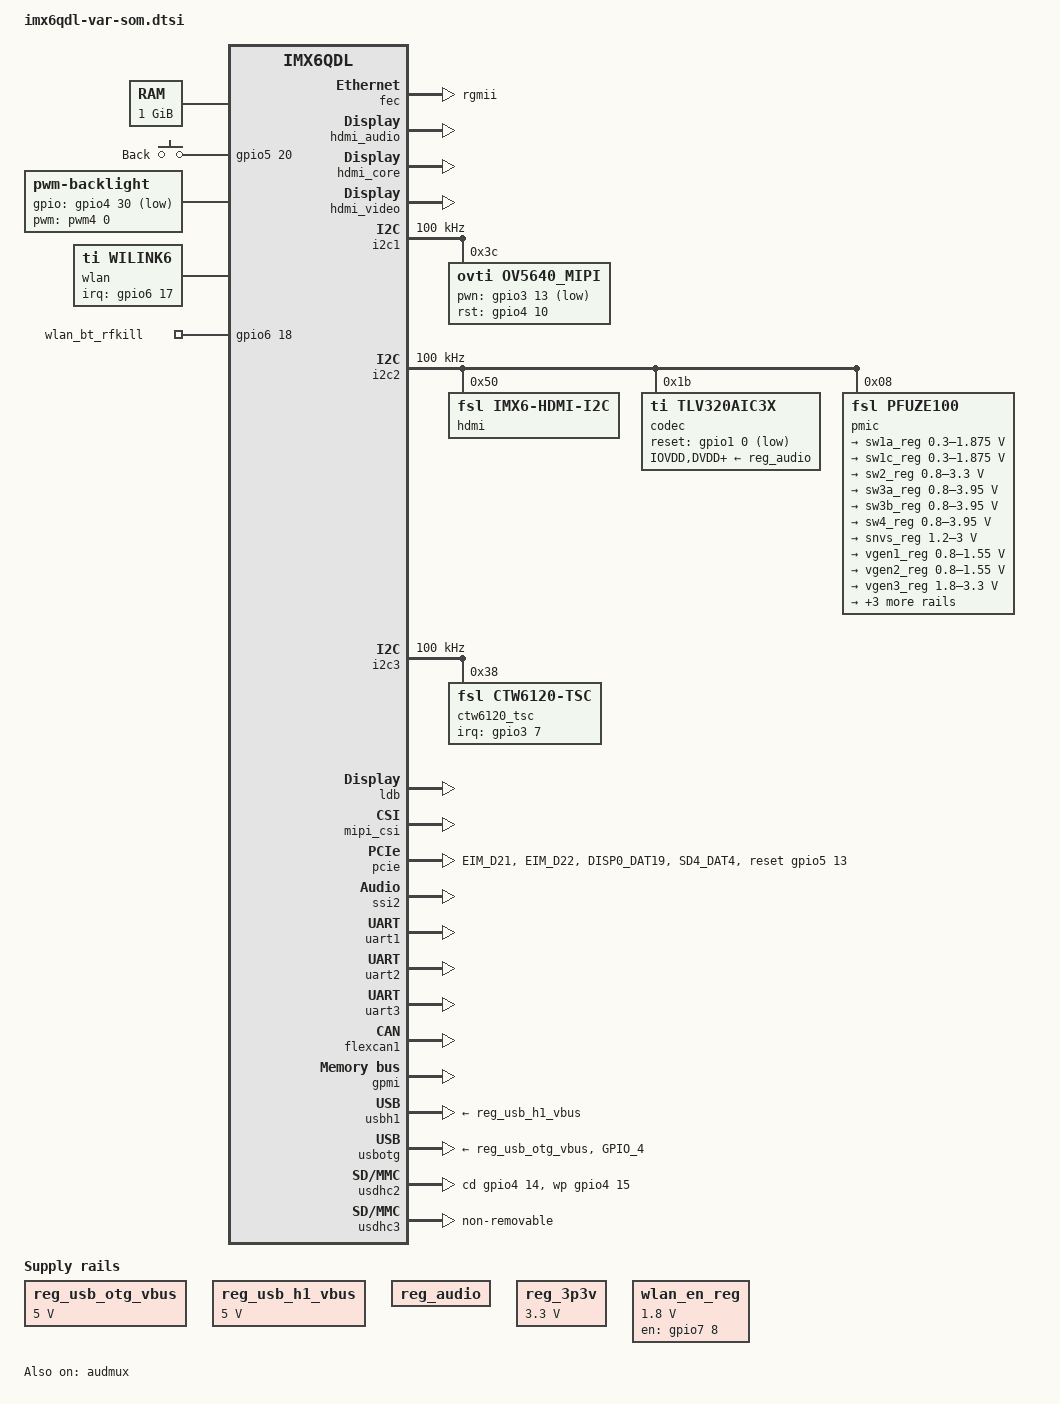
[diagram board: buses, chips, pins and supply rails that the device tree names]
/*
 * Copyright (C) 2014 Variscite, Ltd. All Rights Reserved
 * Donio Ron: ron.d@variscite.com
 *
 * Copyright 2012 Freescale Semiconductor, Inc.
 * Copyright 2011 Linaro Ltd.
 *
 * The code contained herein is licensed under the GNU General Public
 * License. You may obtain a copy of the GNU General Public License
 * Version 2 or later at the following locations:
 *
 * http://www.opensource.org/licenses/gpl-license.html
 * http://www.gnu.org/copyleft/gpl.html
 *
 */

/ {
	aliases {
		mxcfb0 = &mxcfb1;
		mxcfb1 = &mxcfb2;
		mxcfb2 = &mxcfb3;
		mxcfb3 = &mxcfb4;
	};

	memory {
		reg = <0x10000000 0x40000000>;
	};

	regulators {
		compatible = "simple-bus";

		reg_usb_otg_vbus: usb_otg_vbus {
			compatible = "regulator-fixed";
			regulator-name = "usb_otg_vbus";
			regulator-min-microvolt = <5000000>;
			regulator-max-microvolt = <5000000>;
			enable-active-high;
		};

		reg_usb_h1_vbus: usb_h1_vbus {
			compatible = "regulator-fixed";
			regulator-name = "usb_h1_vbus";
			regulator-min-microvolt = <5000000>;
			regulator-max-microvolt = <5000000>;
		};

		reg_audio: tlv320aic3x_supply {
			compatible = "regulator-fixed";
			regulator-name = "tlv320aic3x-supply";
			enable-active-high;
		};
#if 0
		reg_sensor: sensor_supply {
			compatible = "regulator-fixed";
			regulator-name = "sensor-supply";
			regulator-min-microvolt = <3300000>;
			regulator-max-microvolt = <3300000>;
			gpio = <&gpio2 31 0>;
			startup-delay-us = <500>;
			enable-active-high;
		};
#endif
		reg_3p3v: 3p3v {
			compatible = "regulator-fixed";
			regulator-name = "3P3V";
			regulator-min-microvolt = <3300000>;
			regulator-max-microvolt = <3300000>;
			regulator-always-on;
		};

		wlcore {
			compatible = "wlcore";
			gpio = <207>;   /* The wl8 driver expects gpio to be an integer, so gpio6_17 is (6-1)*32+17=207
			        	   irq property must not be set as driver derives irq number from gpio if no irq set
		 			   use edge irqs for suspend/resume */
			platform-quirks = <1>;
			/* if a 12xx card is there, configure the clock to WL12XX_REFCLOCK_38_XTAL */
			board-ref-clock = <4>;
		};

		wlan_en_reg: fixedregulator@2 {
			compatible = "regulator-fixed";
			regulator-name = "wlan-en-regulator";
			regulator-min-microvolt = <1800000>;
			regulator-max-microvolt = <1800000>;

			/* WLAN_EN GPIO for this board - Bank7, pin8 */
			gpio = <&gpio7 8 0>;

			/* WLAN card specific delay */
			startup-delay-us = <70000>;
			enable-active-high;
		};
	};

	gpio-keys {
		compatible = "gpio-keys";
		power {
			label = "Back";
			gpios = <&gpio5 20 0>;
			linux,code = <158>; /* KEY_BACK */
		};
	};

	sound {
		compatible = "fsl,imx6q-var-som-tlv320aic3x", "fsl,imx-audio-tlv320aic3x";
		model = "tlv320aic3x-audio";
		ssi-controller = <&ssi2>;
		audio-codec = <&codec>;
		audio-routing =
			/* Headphone connected to HPLOUT, HPROUT */
			"Headphone Jack",       "HPLOUT",
			"Headphone Jack",       "HPROUT",
			/* Line Out connected to LLOUT, RLOUT */
			"Line Out",      	"LLOUT",
			"Line Out",     	"RLOUT",
			/* Mic connected to (MIC3L | MIC3R) */
			"Mic Bias",		"MIC3L",
			"Mic Bias",		"MIC3R",
			"Mic Jack",		"Mic Bias",
			/* Line In connected to (LINE1L | LINE2L), (LINE1R | LINE2R) */
			"Line In",		"LINE1L",
			"Line In",		"LINE2L",
			"Line In",		"LINE1R",
			"Line In",		"LINE2R";
		mux-int-port = <2>;
		mux-ext-port = <3>;
	};

	sound-hdmi {
		compatible = "fsl,imx6q-audio-hdmi",
			     "fsl,imx-audio-hdmi";
		model = "imx-audio-hdmi";
		hdmi-controller = <&hdmi_audio>;
	};

	mxcfb1: fb@0 {
		compatible = "fsl,mxc_sdc_fb";
		disp_dev = "ldb";
		interface_pix_fmt = "RGB24";
		mode_str ="VAR-WVGA-CTW";
		default_bpp = <16>;
		int_clk = <0>;
		late_init = <0>;
		status = "okay";
	};

	mxcfb2: fb@1 {
		compatible = "fsl,mxc_sdc_fb";
		disp_dev = "hdmi";
		interface_pix_fmt = "RGB24";
		mode_str ="1920x1080M@60";
		default_bpp = <24>;
		int_clk = <0>;
		late_init = <0>;
		status = "okay";
	};

	mxcfb3: fb@2 {
		compatible = "fsl,mxc_sdc_fb";
		disp_dev = "lcd";
		interface_pix_fmt = "RGB565";
		mode_str ="CLAA-WVGA";
		default_bpp = <16>;
		int_clk = <0>;
		late_init = <0>;
		status = "disabled";
	};

	mxcfb4: fb@3 {
		compatible = "fsl,mxc_sdc_fb";
		disp_dev = "ldb";
		interface_pix_fmt = "RGB666";
		mode_str ="LDB-XGA";
		default_bpp = <16>;
		int_clk = <0>;
		late_init = <0>;
		status = "disabled";
	};

	lcd@0 {
		compatible = "fsl,lcd";
		ipu_id = <0>;
		disp_id = <0>;
		default_ifmt = "RGB565";
//		pinctrl-names = "default";
//		pinctrl-0 = <&pinctrl_ipu1_1>;
		status = "okay";
	};

	backlight {
		compatible = "pwm-backlight";
		gpios = <&gpio4 30 1>;
		pwms = <&pwm4 0 5000000>;
		brightness-levels = <0 4 8 16 32 64 128 255>;
		default-brightness-level = <128>;
	};

	v4l2_cap_0 {
		compatible = "fsl,imx6q-v4l2-capture";
		ipu_id = <0>;
		csi_id = <1>;
		mclk_source = <0>;
		status = "okay";
	};

	v4l2_out {
		compatible = "fsl,mxc_v4l2_output";
		status = "okay";
	};


	wlan {
		compatible = "ti,wilink6";
		interrupt-parent = <&gpio6>;
		interrupts = <17 0>;
		clocks = <&refclock>;
		clock-names = "refclock";

		refclock: refclock {
			compatible = "ti,wilink-clock";
			#clock-cells = <0>;
			clock-frequency = <38400000>;
		};
	};

	wlan_bt_rfkill {
		compatible = "net,rfkill-gpio";
		name = "wlan_bt_rfkill";
		type = <2>;     /* bluetooth */
		gpios = <&gpio6 18 0>;
	};


#if 0
	lvds_cabc_ctrl {
		lvds0-gpios = <&gpio6 15 0>;
		lvds1-gpios = <&gpio6 16 0>;
	};
#endif
};

&audmux {
	pinctrl-names = "default";
	pinctrl-0 = <&pinctrl_audmux_2>;
	status = "okay";
};

&cpu0 {
	arm-supply = <&sw1a_reg>;
	soc-supply = <&sw1c_reg>;
	pu-supply = <&pu_dummy>; /* use pu_dummy if VDDSOC share with VDDPU */
};

#if 0
&ecspi3 {
	fsl,spi-num-chipselects = <0>;
	cs-gpios = <&gpio4 24 0>;
	pinctrl-names = "default";
	pinctrl-0 = <&pinctrl_ecspi3_1>;
	status = "okay";

	ads7846@0 {
		reg = <0>;	/* CS0 */
		compatible = "ti,ads7846";
		interrupt-parent = <&gpio4>;
		interrupts = <25 0>;	
		spi-max-frequency = <1500000>;
		pendown-gpio = <&gpio4 25 0>;
		vcc-supply = <&reg_soc>;
		ti,x-min = /bits/ 16 <4200>;
		ti,x-max = /bits/ 16 <8080>;
		ti,y-min = /bits/ 16 <4330>;
		ti,y-max = /bits/ 16 <7980>;
		ti,x-plate-ohms = /bits/ 16 <180>;
		ti,pressure-max = /bits/ 16 <255>;
		ti,debounce-max	= /bits/ 16 <10>;
		ti,debounce-tol = /bits/ 16 <3>;
		ti,debounce-rep	= /bits/ 16 <1>;
		ti,settle-delay-usec	= /bits/ 16 <150>;
		ti,keep-vref-on;	
		linux,wakeup;
		};
};
#endif

&fec {
	pinctrl-names = "default";
	pinctrl-0 = <&pinctrl_enet_4>;
	phy-mode = "rgmii";
	status = "okay";
};

&gpc {
	fsl,cpu_pupscr_sw2iso = <0xf>;
	fsl,cpu_pupscr_sw = <0xf>;
	fsl,cpu_pdnscr_iso2sw = <0x1>;
	fsl,cpu_pdnscr_iso = <0x1>;
	fsl,ldo-bypass = <1>; 			/* use ldo-bypass, u-boot will check it and configure */
	fsl,wdog-reset = <2>; 			/* watchdog select of reset source */
	pu-supply = <&reg_pu>; 			/* ldo-bypass:use pu_dummy if VDDSOC share with VDDPU */
};

&gpu {
	pu-supply = <&reg_pu>; 			/* ldo-bypass:use pu_dummy if VDDSOC share with VDDPU */
};

&vpu {
	pu-supply = <&reg_pu>; 			/* ldo-bypass:use pu_dummy if VDDSOC share with VDDPU */
};

&hdmi_audio {
	status = "okay";
};

&hdmi_core {
	ipu_id = <0>;
	disp_id = <0>;
	status = "okay";
};

&hdmi_video {
	fsl,phy_reg_vlev = <0x0294>;
	fsl,phy_reg_cksymtx = <0x800d>;
	status = "okay";
};

&i2c1 {
	clock-frequency = <100000>;
	pinctrl-names = "default";
	pinctrl-0 = <&pinctrl_i2c1_2>;
	status = "okay";

	ov5640_mipi: ov5640_mipi@3c {
		compatible = "ovti,ov5640_mipi";
		reg = <0x3c>;
		clocks = <&clks 200>;
		clock-names = "csi_mclk";
//		DOVDD-supply = <&vgen4_reg>; /* 1.8v */
//		AVDD-supply = <&vgen3_reg>;  /* 2.8v, rev C board is VGEN3 rev B board is VGEN5 */
//		DVDD-supply = <&vgen2_reg>;  /* 1.5v*/
		pwn-gpios = <&gpio3 13 1>;
		rst-gpios = <&gpio4 10 0>;
		csi_id = <1>;
		mclk = <24000000>;
		mclk_source = <0>;
	};

};

&i2c2 {
	clock-frequency = <100000>;
	pinctrl-names = "default";
	pinctrl-0 = <&pinctrl_i2c2_2>;
	status = "okay";

	hdmi: edid@50 {
		compatible = "fsl,imx6-hdmi-i2c";
		reg = <0x50>;
	};

	codec: tlv320aic3x@1b {
		compatible = "ti,tlv320aic3x";
		reg = <0x1b>;
		clocks = <&clks 201>;
		clock-names = "clko_clk";
		IOVDD-supply = <&reg_audio>;
		DVDD-supply = <&reg_audio>;
		AVDD-supply = <&reg_audio>;
		DRVDD-supply = <&reg_audio>;
		gpio-reset = <&gpio1 0 1>;
		gpio-cfg = <
			0x0000 /* 0:Default */
			0x0000 /* 1:Default */
			0x0013 /* 2:FN_DMICCLK */
			0x0000 /* 3:Default */
			0x8014 /* 4:FN_DMICCDAT */
			0x0000 /* 5:Default */
		>;
       	};

	pmic: pfuze100@08 {
		compatible = "fsl,pfuze100";
		reg = <0x08>;

		regulators {
			sw1a_reg: sw1ab {
				regulator-min-microvolt = <300000>;
				regulator-max-microvolt = <1875000>;
				regulator-boot-on;
				regulator-always-on;
				regulator-ramp-delay = <6250>;
			};

			sw1c_reg: sw1c {
				regulator-min-microvolt = <300000>;
				regulator-max-microvolt = <1875000>;
				regulator-boot-on;
				regulator-always-on;
				regulator-ramp-delay = <6250>;
			};

			sw2_reg: sw2 {
				regulator-min-microvolt = <800000>;
				regulator-max-microvolt = <3300000>;
				regulator-boot-on;
				regulator-always-on;
			};

			sw3a_reg: sw3a {
				regulator-min-microvolt = <800000>;
				regulator-max-microvolt = <3950000>;
				regulator-boot-on;
				regulator-always-on;
			};

			sw3b_reg: sw3b {
				regulator-min-microvolt = <800000>;
				regulator-max-microvolt = <3950000>;
				regulator-boot-on;
				regulator-always-on;
			};

			sw4_reg: sw4 {
				regulator-min-microvolt = <800000>;
				regulator-max-microvolt = <3950000>;
			};

			snvs_reg: vsnvs {
				regulator-min-microvolt = <1200000>;
				regulator-max-microvolt = <3000000>;
				regulator-boot-on;
				regulator-always-on;
			};

			vref_reg: vrefddr {
				regulator-boot-on;
				regulator-always-on;
			};

			vgen1_reg: vgen1 {
				regulator-min-microvolt = <800000>;
				regulator-max-microvolt = <1550000>;
			};

			vgen2_reg: vgen2 {
				regulator-min-microvolt = <800000>;
				regulator-max-microvolt = <1550000>;
			};

			vgen3_reg: vgen3 {
				regulator-min-microvolt = <1800000>;
				regulator-max-microvolt = <3300000>;
				regulator-always-on;
				regulator-boot-on;			};

			vgen4_reg: vgen4 {
				regulator-min-microvolt = <1800000>;
				regulator-max-microvolt = <3300000>;
				regulator-always-on;
				regulator-boot-on;
			};

			vgen5_reg: vgen5 {
				regulator-min-microvolt = <1800000>;
				regulator-max-microvolt = <3300000>;
				regulator-always-on;
				regulator-boot-on;
			};

			vgen6_reg: vgen6 {
				regulator-min-microvolt = <3300000>;
				regulator-max-microvolt = <3300000>;
			};

		};
	};
};

&i2c3 {
        clock-frequency = <100000>;
        pinctrl-names = "default";
        pinctrl-0 = <&pinctrl_i2c3_3>;
        status = "okay";

	ctw6120_tsc@38 {
		compatible = "fsl,ctw6120-tsc";
//		pinctrl-names = "default";
//		pinctrl-0 = <&ctw6120_pins>;
		reg = <0x38>;
		interrupt-parent = <&gpio3>;
		interrupts = <7 0>;

		x-size = <800>;
		y-size = <480>;
	};
};

&iomuxc {
	pinctrl-names = "default";
	pinctrl-0 = <&pinctrl_hog_1>;

	hog {
		pinctrl_hog_1: hoggrp-1 {
			fsl,pins = <
				 /* User Button */
				MX6QDL_PAD_CSI0_DATA_EN__GPIO5_IO20 		0x80000000
				/* Backlight PWM */
				MX6QDL_PAD_DISP0_DAT9__PWM2_OUT 		0x1b0b1
				/* Backlight enable */
				MX6QDL_PAD_DISP0_DAT9__GPIO4_IO30 		0x80000000
				/* CTW6120 IRQ */
				MX6QDL_PAD_EIM_DA7__GPIO3_IO07 			0x80000000
				/* Touch */
				MX6QDL_PAD_DISP0_DAT3__GPIO4_IO24 		0x80000000		/* touch panel CS */
				MX6QDL_PAD_DISP0_DAT4__GPIO4_IO25 		0x80000000		/* touch panel irq */
				/* for Bluetooth/wifi enable */
				MX6QDL_PAD_SD3_DAT7__GPIO6_IO17			0x100b0			/* wl12xx_wl_irq */
//				MX6QDL_PAD_SD3_RST__GPIO7_IO08			0x000b0			/* wl12xx_wl_en */
				MX6QDL_PAD_SD3_DAT6__GPIO6_IO18			0x000b0			/* wl12xx_bt_en */
				/* SDMMC2 CD/WP */
				MX6QDL_PAD_KEY_COL4__GPIO4_IO14			0x80000000
				MX6QDL_PAD_KEY_ROW4__GPIO4_IO15			0x80000000
				/* USBOTG ID pin */
//				MX6QDL_PAD_GPIO_4__GPIO1_IO04			0x80000000
				/* PMIC INT */
				MX6QDL_PAD_GPIO_17__GPIO7_IO12			0x80000000
				/* Wifi Slow Clock */
				MX6QDL_PAD_ENET_RXD0__OSC32K_32K_OUT		0x000b0			/* WIFI Slow clock */
				/* Audio Clock */
				MX6QDL_PAD_GPIO_0__CCM_CLKO1 			0x130b0			/* Audio Codec Clock */
				/* Camera Clock */
				MX6QDL_PAD_GPIO_3__CCM_CLKO2			0x130b0			/* Camera MCLK */
			>;
		};
		pinctrl_pcie: pciegrp {
			fsl,pins = <
				/* PCIE */
				MX6QDL_PAD_EIM_D21__GPIO3_IO21			0x80000000		/* PCIE_DIS */
				MX6QDL_PAD_EIM_D22__GPIO3_IO22			0x80000000		/* PCIE_WAKEUP */
				MX6QDL_PAD_DISP0_DAT19__GPIO5_IO13		0x80000000	 	/* PCIE_RST */
				MX6QDL_PAD_SD4_DAT4__GPIO2_IO12			0x80000000		/* PCIE_PWR_ENA */ 
			>;
		};
		pinctrl_usbotg_var: usbotggrp-3 {
			fsl,pins = <
				MX6QDL_PAD_GPIO_4__GPIO1_IO04 0x17059
			>;
		};
	};
};

&ldb {
	ipu_id = <1>;
	disp_id = <0>;
	ext_ref = <1>;
	mode = "sep0";
	sec_ipu_id = <1>;
	sec_disp_id = <1>;
	status = "okay";
};

&mipi_csi {
	status = "okay";
	ipu_id = <0>;
	csi_id = <0>;
	v_channel = <0>;
	lanes = <2>;
};

&pcie {
	pinctrl-0 = <&pinctrl_pcie>;
	power-on-gpio = <&gpio2 12 0>;		/* gpio pin number of power-enable signal */
	reset-gpio    = <&gpio5 13 0>;		/* gpio pin number of power good signal */
	wake-up-gpio  = <&gpio3 22 1>;		/* gpio pin number of incoming wakeup signal */
 	disable-gpio  = <&gpio3 21 0>;		/* gpio pin number of outgoing rfkill/endpoint disable signal */
	status = "okay";
};


#if 0
&pwm1 {
	pinctrl-names = "default";
	pinctrl-0 = <&pinctrl_pwm1_1>;
	status = "okay";
};
#endif


&ssi2 {
	fsl,mode = "i2s-slave";
	status = "okay";
};

/* Console Uart */
&uart1 {
	pinctrl-names = "default";
	pinctrl-0 = <&pinctrl_uart1_1>;
	status = "okay";
};

/* Bluetooth Uart */
&uart2 {
	pinctrl-names = "default";
	pinctrl-0 = <&pinctrl_uart2_3>;
	fsl,uart-has-rtscts;
	status = "okay";
};

/* ttymxc2 UART */
&uart3 {
	pinctrl-names = "default";
	pinctrl-0 = <&pinctrl_uart3_2>;
	fsl,uart-has-rtscts;
	status = "okay";
};

&flexcan1 {
	pinctrl-names = "default";
	pinctrl-0 = <&pinctrl_flexcan1_3>;
	status = "okay";
};

&gpmi {
	pinctrl-names = "default";
	pinctrl-0 = <&pinctrl_gpmi_nand_v1>;
	status = "okay";

	partition@0 {
		label = "bootloader";
		reg = <0x00000000 0x001e0000>;
	};

	partition@1 {
		label = "dtb";
		reg = <0x001e0000 0x00020000>;
	};

	partition@2 {
		label = "kernel";
		reg = <0x00200000 0x00600000>;
	};

	partition@3 {
		label = "rootfs";
		reg = <0x00800000 0x1f800000>;
	};

};

&usbh1 {
	vbus-supply = <&reg_usb_h1_vbus>;
	status = "okay";
};


&usbotg {
	vbus-supply = <&reg_usb_otg_vbus>;
	pinctrl-names = "default";
	pinctrl-0 = <&pinctrl_usbotg_var>;
	disable-over-current;
	status = "okay";
};

&usdhc2 {	/* uSDHC2, MMC/SD card */
	pinctrl-names = "default";
	pinctrl-0 = <&pinctrl_usdhc2_2>;
	cd-gpios = <&gpio4 14 0>;
	wp-gpios = <&gpio4 15 0>;
	no-1-8-v;
	keep-power-in-suspend;
	enable-sdio-wakeup;
	status = "okay";
};

&usdhc3 {	/* uSDHC3, TiWi wl1271 */
	pinctrl-names = "default"; //, "state_100mhz", "state_200mhz";
	pinctrl-0 = <&pinctrl_usdhc3_2>;
	keep-power-in-suspend;
	enable-sdio-wakeup;
	vqmmc-supply = <&wlan_en_reg>;
	non-removable;
	cap-power-off-card;
	max-frequency = <24000000>;
	status = "okay";
};

